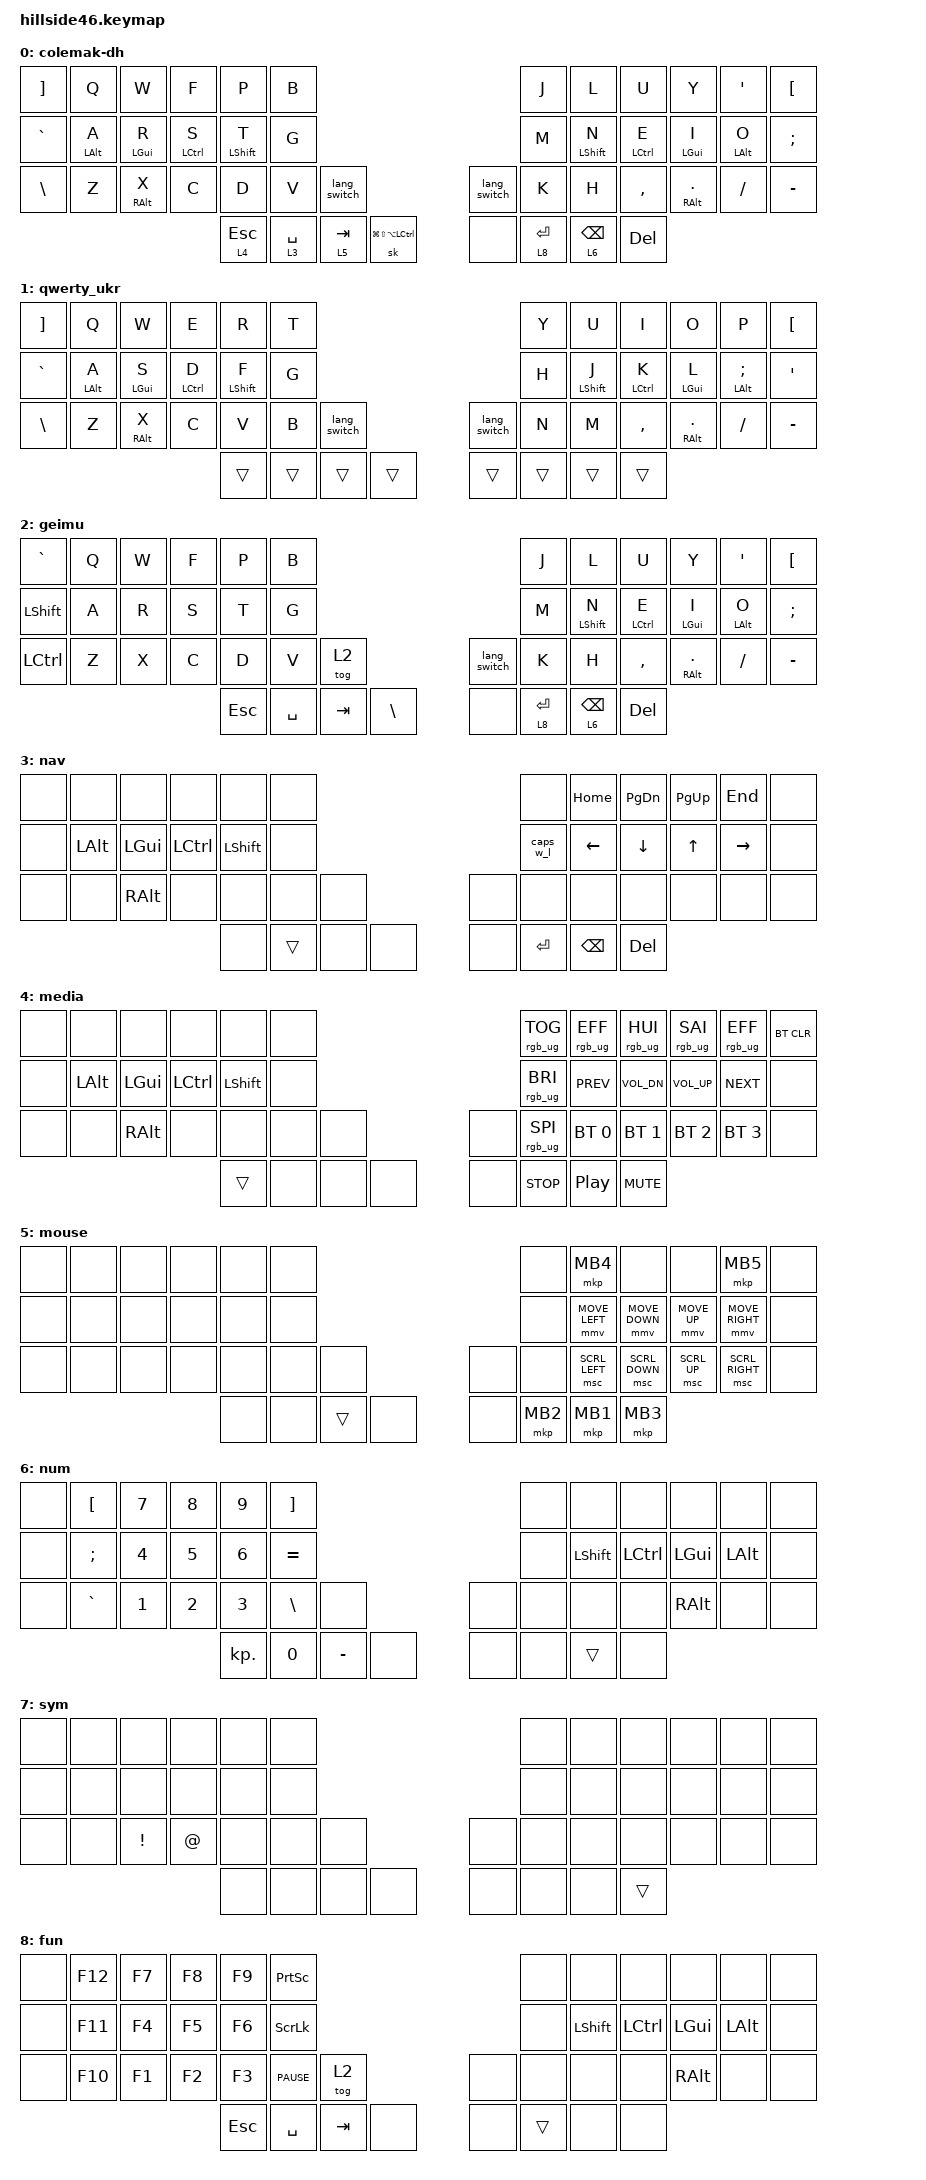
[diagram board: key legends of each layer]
#include <behaviors.dtsi>
#include <dt-bindings/zmk/bt.h>
#include <dt-bindings/zmk/keys.h>
#include <dt-bindings/zmk/keys.h>
#include <dt-bindings/zmk/pointing.h>
#include <dt-bindings/zmk/pointing.h>
#include <dt-bindings/zmk/pointing.h>
#include <dt-bindings/zmk/rgb.h>

&mt {
    quick-tap-ms = <150>;
    tapping-term-ms = <150>;
    flavor = "tap-preferred";
};

&lt {
    quick-tap-ms = <150>;
    tapping-term-ms = <150>;
    flavor = "tap-preferred";
};

&mmv {
    time-to-max-speed-ms = <150>;
    acceleration-exponent = <10>;
};

&msc {
    time-to-max-speed-ms = <150>;
    acceleration-exponent = <7>;
};

/ {
    macros {
        lang_switch: lang_switch {
            compatible = "zmk,behavior-macro";
            #binding-cells = <0>;
            bindings = <&kt LGUI &kp ESC &kt LGUI &tog 1>;
            label = "LANG_SWITCH";
        };
    };

    behaviors {
        caps_w_l: caps_word_lock {
            compatible = "zmk,behavior-mod-morph";
            #binding-cells = <0>;
            bindings = <&caps_word>, <&kp CAPSLOCK>;
            mods = <(MOD_LSFT|MOD_RSFT)>;
        };
    };

    keymap {
        compatible = "zmk,keymap";

        colemak-dh {
            bindings = <
&kp RBKT   &kp Q       &kp W       &kp F        &kp P         &kp B                                                                    &kp J            &kp L         &kp U        &kp Y         &kp SINGLE_QUOTE  &kp LBKT
&kp GRAVE  &mt LALT A  &mt LGUI R  &mt LCTRL S  &mt LSHIFT T  &kp G                                                                    &kp M            &mt LSHIFT N  &mt LCTRL E  &mt LGUI I    &mt LALT O        &kp SEMICOLON
&kp BSLH   &kp Z       &mt RALT X  &kp C        &kp D         &kp V        &lang_switch                                  &lang_switch  &kp K            &kp H         &kp COMMA    &mt RALT DOT  &kp FSLH          &kp MINUS
                                                &lt 4 ESC     &lt 3 SPACE  &lt 5 TAB     &sk LG(LS(LA(LCTRL)))    &none  &lt 8 ENTER   &lt 6 BACKSPACE  &kp DEL
            >;
        };

        qwerty_ukr {
            bindings = <
&kp RBKT   &kp Q       &kp W       &kp E        &kp R         &kp T                                                 &kp Y   &kp U         &kp I        &kp O         &kp P               &kp LBKT
&kp GRAVE  &mt LALT A  &mt LGUI S  &mt LCTRL D  &mt LSHIFT F  &kp G                                                 &kp H   &mt LSHIFT J  &mt LCTRL K  &mt LGUI L    &mt LALT SEMICOLON  &kp APOS
&kp BSLH   &kp Z       &mt RALT X  &kp C        &kp V         &kp B   &lang_switch                    &lang_switch  &kp N   &kp M         &kp COMMA    &mt RALT DOT  &kp FSLH            &kp MINUS
                                                &trans        &trans  &trans        &trans    &trans  &trans        &trans  &trans
            >;
        };

        geimu {
            bindings = <
&kp GRAVE   &kp Q  &kp W  &kp F  &kp P    &kp B                                                     &kp J            &kp L         &kp U        &kp Y         &kp SINGLE_QUOTE  &kp LBKT
&kp LSHIFT  &kp A  &kp R  &kp S  &kp T    &kp G                                                     &kp M            &mt LSHIFT N  &mt LCTRL E  &mt LGUI I    &mt LALT O        &kp SEMICOLON
&kp LCTRL   &kp Z  &kp X  &kp C  &kp D    &kp V      &tog 2                           &lang_switch  &kp K            &kp H         &kp COMMA    &mt RALT DOT  &kp FSLH          &kp MINUS
                                 &kp ESC  &kp SPACE  &kp TAB  &kp BACKSLASH    &none  &lt 8 ENTER   &lt 6 BACKSPACE  &kp DEL
            >;
        };

        nav {
            bindings = <
&none  &none     &none     &none      &none      &none                                   &none      &kp HOME  &kp PG_DN  &kp PG_UP  &kp END    &none
&none  &kp LALT  &kp LGUI  &kp LCTRL  &kp LSHFT  &none                                   &caps_w_l  &kp LEFT  &kp DOWN   &kp UP     &kp RIGHT  &none
&none  &none     &kp RALT  &none      &none      &none   &none                  &none    &none      &none     &none      &none      &none      &none
                                      &none      &trans  &none  &none    &none  &kp RET  &kp BSPC   &kp DEL
            >;
        };

        media {
            bindings = <
&none  &none     &none     &none      &none      &none                                     &rgb_ug RGB_TOG  &rgb_ug RGB_EFF  &rgb_ug RGB_HUI  &rgb_ug RGB_SAI  &rgb_ug RGB_EFF  &bt BT_CLR
&none  &kp LALT  &kp LGUI  &kp LCTRL  &kp LSHFT  &none                                     &rgb_ug RGB_BRI  &kp C_PREV       &kp C_VOL_DN     &kp C_VOL_UP     &kp C_NEXT       &none
&none  &none     &kp RALT  &none      &none      &none  &none                  &none       &rgb_ug RGB_SPI  &bt BT_SEL 0     &bt BT_SEL 1     &bt BT_SEL 2     &bt BT_SEL 3     &none
                                      &trans     &none  &none  &none    &none  &kp C_STOP  &kp C_PP         &kp C_MUTE
            >;
        };

        mouse {
            bindings = <
&none  &none  &none  &none  &none  &none                                    &none     &mkp MB4        &none           &none         &mkp MB5         &none
&none  &none  &none  &none  &none  &none                                    &none     &mmv MOVE_LEFT  &mmv MOVE_DOWN  &mmv MOVE_UP  &mmv MOVE_RIGHT  &none
&none  &none  &none  &none  &none  &none  &none                   &none     &none     &msc SCRL_LEFT  &msc SCRL_DOWN  &msc SCRL_UP  &msc SCRL_RIGHT  &none
                            &none  &none  &trans  &none    &none  &mkp MB2  &mkp MB1  &mkp MB3
            >;
        };

        num {
            bindings = <
&none  &kp LBKT   &kp N7  &kp N8  &kp N9      &kp RBKT                                     &none   &none      &none      &none     &none     &none
&none  &kp SEMI   &kp N4  &kp N5  &kp N6      &kp EQUAL                                    &none   &kp LSHFT  &kp LCTRL  &kp LGUI  &kp LALT  &none
&none  &kp GRAVE  &kp N1  &kp N2  &kp N3      &kp BSLH   &none                      &none  &none   &none      &none      &kp RALT  &none     &none
                                  &kp KP_DOT  &kp N0     &kp MINUS  &none    &none  &none  &trans  &none
            >;
        };

        sym {
            bindings = <
&none  &none  &none     &none   &none  &none                                &none  &none   &none  &none  &none  &none
&none  &none  &none     &none   &none  &none                                &none  &none   &none  &none  &none  &none
&none  &none  &kp EXCL  &kp AT  &none  &none  &none                  &none  &none  &none   &none  &none  &none  &none
                                &none  &none  &none  &none    &none  &none  &none  &trans
            >;
        };

        fun {
            bindings = <
&none  &kp F12  &kp F7  &kp F8  &kp F9   &kp PSCRN                                        &none  &none      &none      &none     &none     &none
&none  &kp F11  &kp F4  &kp F5  &kp F6   &kp SCROLLLOCK                                   &none  &kp LSHFT  &kp LCTRL  &kp LGUI  &kp LALT  &none
&none  &kp F10  &kp F1  &kp F2  &kp F3   &kp C_PAUSE     &tog 2                   &none   &none  &none      &none      &kp RALT  &none     &none
                                &kp ESC  &kp SPACE       &kp TAB  &none    &none  &trans  &none  &none
            >;
        };
    };
};
